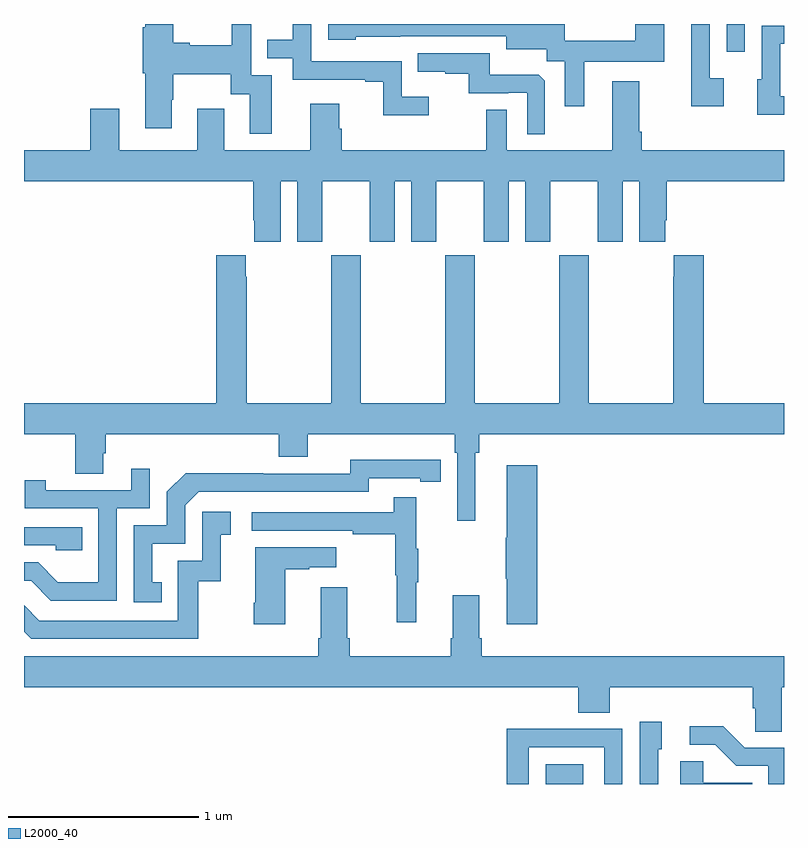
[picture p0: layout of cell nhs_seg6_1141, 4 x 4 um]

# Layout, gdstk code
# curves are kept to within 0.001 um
import gdstk
lib = gdstk.Library(unit=1e-6, precision=1e-09)
def R(c, l, rs):  # rectangles x0, y0, x1, y1
    for r in rs: c.add(gdstk.rectangle(r[:2], r[2:], *l))
def P(c, l, *ps):  # polygons
    for p in ps: c.add(gdstk.Polygon(p, *l))
L2000_40 = (2000, 40)

nhs_seg6_1141 = lib.new_cell('nhs_seg6_1141')
R(nhs_seg6_1141, L2000_40, [(183.746,941.5,183.943,941.605), (184.698,945.354,184.794,945.5)])
P(nhs_seg6_1141, L2000_40, [(182.305,945.231),(182.196,945.231),(182.196,945.5),(182.093,945.5),(182.093,945.388),(181.873,945.388),(181.873,945.401),(181.785,945.401),(181.785,945.5),(181.637,945.5),(181.637,945.484),(181.625,945.484),(181.625,945.24),(181.637,945.24),(181.637,944.952),(181.777,944.952),(181.777,945.102),(181.785,945.102),(181.785,945.236),(182.088,945.236),(182.088,945.13),(182.189,945.13),(182.189,944.922),(182.305,944.922)],
  [(183.13,945.118),(182.988,945.118),(182.988,945.303),(182.511,945.303),(182.511,945.5),(182.415,945.5),(182.415,945.417),(182.281,945.417),(182.281,945.321),(182.415,945.321),(182.415,945.207),(182.795,945.207),(182.795,945.195),(182.89,945.195),(182.89,945.02),(183.13,945.02)],
  [(183.949,945.302),(184.369,945.302),(184.369,945.5),(184.217,945.5),(184.217,945.412),(183.846,945.412),(183.846,945.5),(182.601,945.5),(182.601,945.416),(182.745,945.416),(182.745,945.434),(182.981,945.434),(182.981,945.435),(183.539,945.435),(183.539,945.368),(183.75,945.368),(183.75,945.304),(183.845,945.304),(183.845,945.066),(183.949,945.066)],
  [(184.684,945.214),(184.608,945.214),(184.608,945.5),(184.511,945.5),(184.511,945.066),(184.684,945.066)],
  [(185,945.12),(184.98,945.12),(184.98,945.396),(185,945.396),(185,945.492),(184.884,945.492),(184.884,945.21),(184.859,945.21),(184.859,945.023),(185,945.023)],
  [(183.741,945.201),(183.709,945.233),(183.451,945.233),(183.451,945.345),(183.073,945.345),(183.073,945.248),(183.217,945.248),(183.217,945.237),(183.341,945.237),(183.341,945.135),(183.548,945.135),(183.548,945.138),(183.648,945.138),(183.648,944.921),(183.741,944.921)],
  [(182.35,944.672),(182.438,944.672),(182.438,944.355),(182.569,944.355),(182.569,944.672),(182.819,944.672),(182.819,944.355),(182.95,944.355),(182.95,944.672),(183.038,944.672),(183.038,944.355),(183.169,944.355),(183.169,944.672),(183.419,944.672),(183.419,944.355),(183.55,944.355),(183.55,944.672),(183.638,944.672),(183.638,944.355),(183.769,944.355),(183.769,944.672),(184.019,944.672),(184.019,944.355),(184.15,944.355),(184.15,944.672),(184.238,944.672),(184.238,944.355),(184.375,944.355),(184.375,944.467),(184.382,944.467),(184.382,944.672),(185,944.672),(185,944.836),(184.25,944.836),(184.25,944.932),(184.237,944.932),(184.237,945.199),(184.097,945.199),(184.097,944.836),(183.54,944.836),(183.54,945.05),(183.432,945.05),(183.432,944.836),(182.672,944.836),(182.672,944.949),(182.659,944.949),(182.659,945.079),(182.507,945.079),(182.507,944.836),(182.053,944.836),(182.053,945.055),(181.913,945.055),(181.913,944.836),(181.501,944.836),(181.501,945.055),(181.349,945.055),(181.349,944.836),(181,944.836),(181,944.672),(182.207,944.672),(182.207,944.467),(182.213,944.467),(182.213,944.355),(182.35,944.355)],
  [(183.376,943.244),(183.395,943.244),(183.395,943.34),(185,943.34),(185,943.504),(184.577,943.504),(184.577,944.284),(184.421,944.284),(184.421,944.171),(184.417,944.171),(184.417,943.504),(183.972,943.504),(183.972,944.284),(183.817,944.284),(183.817,943.504),(183.372,943.504),(183.372,944.284),(183.217,944.284),(183.217,943.504),(182.772,943.504),(182.772,944.284),(182.617,944.284),(182.617,943.504),(182.172,943.504),(182.172,944.171),(182.167,944.171),(182.167,944.284),(182.012,944.284),(182.012,943.504),(181,943.504),(181,943.34),(181.27,943.34),(181.27,943.132),(181.417,943.132),(181.417,943.242),(181.43,943.242),(181.43,943.34),(182.342,943.34),(182.342,943.223),(182.494,943.223),(182.494,943.34),(183.266,943.34),(183.266,943.244),(183.279,943.244),(183.279,942.885),(183.376,942.885)],
  [(181.724,942.561),(181.675,942.561),(181.675,942.765),(181.848,942.765),(181.848,942.966),(181.92,943.038),(182.814,943.038),(182.814,943.11),(183.086,943.11),(183.086,943.09),(183.194,943.09),(183.194,943.206),(182.718,943.207),(182.718,943.134),(182.258,943.134),(182.258,943.136),(181.85,943.136),(181.752,943.038),(181.752,942.861),(181.578,942.861),(181.578,942.456),(181.724,942.456)],
  [(183.701,943.177),(183.542,943.177),(183.542,942.797),(183.535,942.797),(183.535,942.58),(183.542,942.58),(183.542,942.342),(183.701,942.342)],
  [(181.488,942.951),(181.662,942.951),(181.662,943.159),(181.565,943.159),(181.565,943.047),(181.114,943.047),(181.114,943.099),(181.003,943.099),(181.003,942.951),(181.392,942.951),(181.392,942.562),(181.178,942.562),(181.074,942.666),(181,942.666),(181,942.57),(181.037,942.57),(181.142,942.465),(181.488,942.465)],
  [(183.065,942.563),(183.076,942.563),(183.076,942.737),(183.065,942.737),(183.065,943.009),(182.947,943.009),(182.947,942.93),(182.199,942.93),(182.199,942.834),(182.731,942.834),(182.731,942.814),(182.955,942.814),(182.955,942.6),(182.962,942.6),(182.962,942.351),(183.065,942.351)],
  [(181.918,942.567),(182.036,942.567),(182.036,942.813),(182.089,942.813),(182.089,942.934),(181.938,942.934),(181.938,942.675),(181.809,942.675),(181.809,942.36),(181.08,942.36),(181,942.44),(181,942.302),(181.038,942.264),(181.918,942.264)],
  [(181.307,942.852),(181,942.852),(181,942.756),(181.167,942.756),(181.167,942.729),(181.307,942.729)],
  [(182.374,942.631),(182.501,942.631),(182.501,942.641),(182.644,942.641),(182.644,942.745),(182.216,942.745),(182.216,942.454),(182.209,942.454),(182.209,942.342),(182.374,942.342)],
  [(184.987,942.008),(185,942.008),(185,942.172),(183.41,942.172),(183.41,942.268),(183.397,942.268),(183.397,942.493),(183.257,942.493),(183.257,942.268),(183.245,942.268),(183.245,942.172),(182.714,942.172),(182.714,942.268),(182.701,942.268),(182.701,942.535),(182.561,942.535),(182.561,942.268),(182.549,942.268),(182.549,942.172),(181,942.172),(181,942.008),(183.917,942.008),(183.917,941.875),(184.082,941.875),(184.082,942.008),(184.835,942.008),(184.835,941.899),(184.848,941.899),(184.848,941.776),(184.987,941.776)],
  [(184.338,941.682),(184.357,941.682),(184.357,941.827),(184.242,941.827),(184.242,941.5),(184.338,941.5)],
  [(185,941.691),(184.794,941.691),(184.681,941.804),(184.503,941.804),(184.503,941.706),(184.637,941.706),(184.748,941.595),(184.917,941.595),(184.917,941.5),(185,941.5)],
  [(183.657,941.694),(184.053,941.694),(184.053,941.5),(184.149,941.5),(184.149,941.79),(183.833,941.79),(183.833,941.792),(183.541,941.792),(183.541,941.5),(183.657,941.5)],
  [(184.832,941.506),(184.575,941.506),(184.575,941.621),(184.454,941.621),(184.454,941.5),(184.832,941.5)])

lib.write_gds('nhs_seg6_1141.gds')
